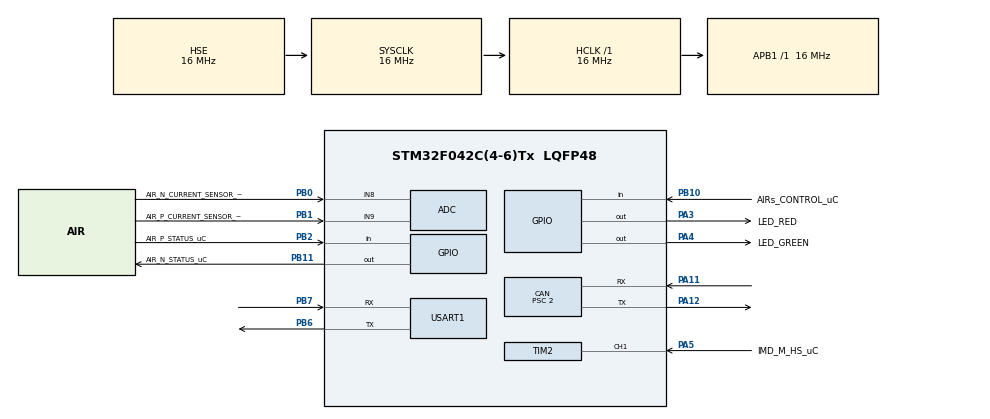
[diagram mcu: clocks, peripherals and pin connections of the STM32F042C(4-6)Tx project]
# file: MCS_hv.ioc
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ADC.SamplingTime=ADC_SAMPLETIME_7CYCLES_5
CAN.BS1=CAN_BS1_13TQ
CAN.BS2=CAN_BS2_2TQ
CAN.CalculateBaudRate=500000
CAN.CalculateTimeBit=2000
CAN.CalculateTimeQuantum=125.0
CAN.Prescaler=2
Mcu.Family=STM32F0
Mcu.Name=STM32F042C(4-6)Tx
Mcu.Package=LQFP48
NVIC.CEC_CAN_IRQn=true\:0\:0\:false\:false\:true\:true\:true\:true
PA11.Mode=CAN_Activate
PA11.Signal=CAN_RX
PA12.Mode=CAN_Activate
PA12.Signal=CAN_TX
PA13.Mode=Serial_Wire
PA13.Signal=SYS_SWDIO
PA14.Mode=Serial_Wire
PA14.Signal=SYS_SWCLK
PA3.GPIO_Label=LED_RED
PA3.Signal=GPIO_Output
PA4.GPIO_Label=LED_GREEN
PA4.Signal=GPIO_Output
PA5.GPIO_Label=IMD_M_HS_uC
PA5.Signal=S_TIM2_CH1_ETR
PB0.GPIO_Label=AIR_N_CURRENT_SENSOR_uC
PB0.Mode=IN8
PB0.Signal=ADC_IN8
PB1.GPIO_Label=AIR_P_CURRENT_SENSOR_uC
PB1.Mode=IN9
PB1.Signal=ADC_IN9
PB10.GPIO_Label=AIRs_CONTROL_uC
PB10.Signal=GPIO_Input
PB11.GPIO_Label=AIR_N_STATUS_uC
PB11.Signal=GPIO_Output
PB2.GPIO_Label=AIR_P_STATUS_uC
PB2.Signal=GPIO_Input
PB6.Mode=Asynchronous
PB6.Signal=USART1_TX
PB7.Mode=Asynchronous
PB7.Signal=USART1_RX
PC14OSC32_IN.Mode=LSE-External-Oscillator
PC14OSC32_IN.Signal=RCC_OSC32_IN
PC15OSC32_OUT.Mode=LSE-External-Oscillator
PC15OSC32_OUT.Signal=RCC_OSC32_OUT
PF0-OSC_IN.Mode=HSE-External-Oscillator
PF0-OSC_IN.Signal=RCC_OSC_IN
PF1-OSC_OUT.Mode=HSE-External-Oscillator
PF1-OSC_OUT.Signal=RCC_OSC_OUT
ProjectManager.HeapSize=0x200
ProjectManager.StackSize=0x400
ProjectManager.TargetToolchain=STM32CubeIDE
RCC.AHBFreq_Value=16000000
RCC.APB1Freq_Value=16000000
RCC.APB1TimFreq_Value=16000000
RCC.HCLKFreq_Value=16000000
RCC.HSE_VALUE=16000000
RCC.SYSCLKFreq_VALUE=16000000
RCC.SYSCLKSource=RCC_SYSCLKSOURCE_HSE
SH.S_TIM2_CH1_ETR.0=TIM2_CH1,PWM_Input_1
USART1.VirtualMode-Asynchronous=VM_ASYNC
board=custom

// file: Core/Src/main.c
/* USER CODE BEGIN Header */
/**
 ******************************************************************************
 * @file           : main.c
 * @brief          : Main program body
 ******************************************************************************
 * @attention
 *
 * Copyright (c) 2022 STMicroelectronics.
 * All rights reserved.
 *
 * This software is licensed under terms that can be found in the LICENSE file
 * in the root directory of this software component.
 * If no LICENSE file comes with this software, it is provided AS-IS.
 *
 ******************************************************************************
 */
/* USER CODE END Header */
#include "main.h"
#include "adc.h"
#include "can.h"
#include "tim.h"
#include "usart.h"
#include "gpio.h"

/* USER CODE BEGIN Includes */
#include <math.h>
#include <can_config.h>
#include <stdlib.h>
/* USER CODE END Includes */

/* USER CODE BEGIN PD */
//Kody do ramek
#define TxID 0x001A  //MCS_hv
#define RxID 0x001F  //MCS_hv

#define MCU_Tx 0x0190 //0x0190
#define MCU_Rx 0x0191 //0x0191

#define WRITE 0x2D
#define READ 0x3D
#define ERROR_D 0x001D

#define MAX_CURRENT_DIVERGENCE 0.5 	//ToDo random value, change later
#define MAX_CURRENT 5 				//ToDo random value, change later

#define MAIN_TIMEOUT 5000   		//ToDo random value, change later
/* USER CODE END PD */

/* USER CODE BEGIN PV */

/*IMD PWM */
extern ResponseMessageFrame ResponseMessage[NUMBER_OF_READ_REGS];
uint32_t IC_Value = 0;
volatile uint32_t Frequency = 0;
float Duty_Cycle = 0;
uint8_t Read_Ins_resistance[2];
/*IMD PWM */

uint16_t AIR_P_Current, AIR_N_Current;
uint8_t Read_AIR_AVG[2];

_Bool Write_MAIN_Handshake = false; //ToDo init value false or true????

_Bool Write_AIRs_Control;
_Bool AIR_N_STATUS, AIR_P_STATUS;

uint32_t Timer_MAIN;

/* USER CODE END PV */

void SystemClock_Config(void);
/* USER CODE BEGIN PFP */
void AIRs_Check(void);
void IMD_ShortCircuitTo24VError_Handler(void);
void IMD_InsulationMeasurementError_Handler(void);
void IMD_UnderVoltageError_Handler(void);
void IMD_SpeedStartError_Handler(void);
void IMD_DeviceError_Handler(void);
void IMD_ConFaultEarthError_Handler(void);
void IMD_MalfunctionError_Handler(void);
void AIRs_CurrentMeasurment(void);
void MAIN_StatusCheck(void);
void ADC_SetChannel(uint32_t Channel);

/* USER CODE END PFP */

int main(void)
{

  /* MCU Configuration--------------------------------------------------------*/

  /* Reset of all peripherals, Initializes the Flash interface and the Systick. */
  HAL_Init();

  /* Configure the system clock */
  SystemClock_Config();

  /* Initialize all configured peripherals */
  MX_GPIO_Init();
  MX_CAN_Init();
  MX_ADC_Init();
  MX_USART1_UART_Init();
  MX_TIM2_Init();
  /* USER CODE BEGIN 2 */
  CAN_Init();

	/*PWM input capture */
	HAL_TIM_IC_Start_IT(&htim2, TIM_CHANNEL_1); //main channel
	HAL_TIM_IC_Start(&htim2, TIM_CHANNEL_2); //indirect channel
	/*PWM input capture */

	Timer_MAIN = HAL_GetTick();
  /* USER CODE END 2 */

  /* Infinite loop */
  /* USER CODE BEGIN WHILE */
	while (1)
	{
		if (( HAL_GetTick() - Timer_MAIN ) > MAIN_TIMEOUT)
		{
			MAIN_StatusCheck();
		}
		AIRs_Check();
    /* USER CODE END WHILE */

	}
}

void SystemClock_Config(void)
{
  RCC_OscInitTypeDef RCC_OscInitStruct = {0};
  RCC_ClkInitTypeDef RCC_ClkInitStruct = {0};
  RCC_PeriphCLKInitTypeDef PeriphClkInit = {0};

  /** Initializes the RCC Oscillators according to the specified parameters
  * in the RCC_OscInitTypeDef structure.
  */
  RCC_OscInitStruct.OscillatorType = RCC_OSCILLATORTYPE_HSI14|RCC_OSCILLATORTYPE_HSE;
  RCC_OscInitStruct.HSEState = RCC_HSE_ON;
  RCC_OscInitStruct.HSI14State = RCC_HSI14_ON;
  RCC_OscInitStruct.HSI14CalibrationValue = 16;
  RCC_OscInitStruct.PLL.PLLState = RCC_PLL_NONE;
  if (HAL_RCC_OscConfig(&RCC_OscInitStruct) != HAL_OK)
  {
    Error_Handler();
  }

  /** Initializes the CPU, AHB and APB buses clocks
  */
  RCC_ClkInitStruct.ClockType = RCC_CLOCKTYPE_HCLK|RCC_CLOCKTYPE_SYSCLK
                              |RCC_CLOCKTYPE_PCLK1;
  RCC_ClkInitStruct.SYSCLKSource = RCC_SYSCLKSOURCE_HSE;
  RCC_ClkInitStruct.AHBCLKDivider = RCC_SYSCLK_DIV1;
  RCC_ClkInitStruct.APB1CLKDivider = RCC_HCLK_DIV1;

  if (HAL_RCC_ClockConfig(&RCC_ClkInitStruct, FLASH_LATENCY_0) != HAL_OK)
  {
    Error_Handler();
  }
  PeriphClkInit.PeriphClockSelection = RCC_PERIPHCLK_USART1;
  PeriphClkInit.Usart1ClockSelection = RCC_USART1CLKSOURCE_PCLK1;
  if (HAL_RCCEx_PeriphCLKConfig(&PeriphClkInit) != HAL_OK)
  {
    Error_Handler();
  }
}

/* USER CODE BEGIN 4 */

/** HAL_TIM_IC_CaptureCallback
 * @brief Callback in which frame insulation resistance value is measured by IMD.
 * Basing on signal frequency and duty cycle, condition is checked
 * and reported via CAN if necessary.
 *
 * @param htim pointer to structure that contains htim configuration.
 *
 * @retval None.
 **/
void HAL_TIM_IC_CaptureCallback(TIM_HandleTypeDef *htim) //tim1, measuring IMD signal
{
	uint16_t Temp;
	if (htim->Channel == HAL_TIM_ACTIVE_CHANNEL_1) // interrupt triggered by channel 1
	{
		//read IC value
		IC_Value = HAL_TIM_ReadCapturedValue(htim, TIM_CHANNEL_1);

		if (IC_Value != 0)
		{
			//calc duty cycle
			Duty_Cycle = ( HAL_TIM_ReadCapturedValue(htim, TIM_CHANNEL_2) * 100 ) / IC_Value; //duty cycle in %
			Frequency = 8000000 / IC_Value; //frequency of input signal, 8MHz - tim1 clock freq
			Temp = (uint16_t)( ( 90 * 1200 ) / ( Duty_Cycle - 5 ) - 1200 ); //in kOm
			Read_Ins_resistance[0] = Temp; //LSB
			Read_Ins_resistance[1] = ( Temp >> 8 ); //MSB
		}
		switch (Frequency)
		{
		case 0:
			if (HAL_GPIO_ReadPin(IMD_M_HS_uC_GPIO_Port, IMD_M_HS_uC_Pin) == GPIO_PIN_SET) IMD_ShortCircuitTo24VError_Handler();
			break;
		case 10:
			if (( (int8_t)Duty_Cycle >= 5 ) && ( (int8_t)Duty_Cycle <= 95 )) ; //all OK
			else IMD_InsulationMeasurementError_Handler();
			break;
		case 20:
			if (( (int8_t)Duty_Cycle >= 5 ) && ( (int8_t)Duty_Cycle <= 95 )) IMD_UnderVoltageError_Handler();
			else IMD_MalfunctionError_Handler();
			break;
		case 30:
			if (( (int8_t)Duty_Cycle >= 5 ) && ( (int8_t)Duty_Cycle <= 10 )) ; //all OK
			else if (( (int8_t)Duty_Cycle >= 90 ) && ( (int8_t)Duty_Cycle <= 95 )) IMD_SpeedStartError_Handler();
			else IMD_MalfunctionError_Handler();
			break;
		case 40:
			if (( (int8_t)Duty_Cycle >= 47.5 ) && ( (int8_t)Duty_Cycle <= 52.5 )) IMD_DeviceError_Handler();
			else IMD_MalfunctionError_Handler();
			break;
		case 50:
			if (( (int8_t)Duty_Cycle >= 47.5 ) && ( (int8_t)Duty_Cycle <= 52.5 )) IMD_ConFaultEarthError_Handler();
			else IMD_MalfunctionError_Handler();
			break;
		}
	}
}

/** IMD_ShortCircuitTo24VError_Handler
 * @brief Function to report  short circuit error via CAN
 *
 * @retval None.
 **/
void IMD_ShortCircuitTo24VError_Handler(void)
{
	CAN_ReportError(Error_IMD_Short_Circuit_24V_ID);
}

/** IMD_InsulationMeasurementError_Handler
 * @brief Function to report too low/too high frame insulation error via CAN
 *
 * @retval None.
 **/
void IMD_InsulationMeasurementError_Handler(void)
{
	CAN_ReportError(Error_IMD_Insulation_Measurement_ID);
}

/** IMD_UnderVoltageError_Handler
 * @brief Function to report error via CAN when Tractive System voltage drops below 300V
 *
 * @retval None.
 **/
void IMD_UnderVoltageError_Handler(void)
{
	CAN_ReportError(Error_IMD_Under_Voltage_ID);
}

/** IMD_SpeedStartError_Handler
 * @brief Function to report Speed start measurement failure error via CAN
 *
 * @retval None.
 **/
void IMD_SpeedStartError_Handler(void)
{
	CAN_ReportError(Error_IMD_Speed_Start_ID);
}

/** IMD_DeviceError_Handler
 * @brief Function to report Device error via CAN
 *
 * @retval None.
 **/
void IMD_DeviceError_Handler(void)
{
	CAN_ReportError(Error_IMD_Device_ID);
}

/** IMD_ConFaultEarthError_Handler
 * @brief Function to report fault on the earth connection error via CAN
 *
 * @retval None.
 **/
void IMD_ConFaultEarthError_Handler(void)
{
	CAN_ReportError(Error_IMD_Con_Fault_Earth_ID);
}

/** IMD_MalfunctionError_Handler
 * @brief Function to report IMD malfunction
 * based on incorrect Duty Cycle for respective frequency
 *
 * @retval None.
 **/
void IMD_MalfunctionError_Handler(void)
{
	CAN_ReportError(Error_IMD_Malfunction_ID);
}

/** AIRs_CurrentMeasurment
 * @brief Function which measures AIRs actual amperage
 * and calculate their average value
 *
 * @retval None.
 **/
void AIRs_CurrentMeasurment(void)
{
	/* AIRs current measurement and check BEGIN */
	ADC_SetChannel(ADC_CHANNEL_8); //Switch to channel 8
	HAL_ADC_Start(&hadc); //start conversion

	if (HAL_ADC_PollForConversion(&hadc, 1000) == HAL_OK)
	{
		AIR_N_Current = HAL_ADC_GetValue(&hadc); // Read AIR_P current value
	}

	ADC_SetChannel(ADC_CHANNEL_9); //Switch to channel 9
	HAL_ADC_Start(&hadc); //start conversion

	if (HAL_ADC_PollForConversion(&hadc, 1000) == HAL_OK)
	{
		AIR_P_Current = HAL_ADC_GetValue(&hadc); // Read AIR_N current value
	}

	//Current calc V(I) = 0.0034 *I + 2.5 -> I = (V(I) - 2.5) / 0.0034, equation from datasheet
	AIR_P_Current = (uint16_t)( ( (float)( AIR_P_Current - 2.5 ) ) / 0.0034 );
	AIR_N_Current = (uint16_t)( ( (float)( AIR_N_Current - 2.5 ) ) / 0.0034 );
	Read_AIR_AVG[0] = ( ( AIR_P_Current + AIR_N_Current ) / 2 ); 		  //LSB
	Read_AIR_AVG[1] = ( ( ( AIR_P_Current + AIR_N_Current ) / 2 ) >> 8 ); //MSB
}

/** AIRs_Check
 * @brief Function which monitor AIRs amperage
 * and reports error via CAN in case of:
 * -overcurrent
 * -current divergence
 * -not conducting current
 *
 * @retval None.
 **/
void AIRs_Check(void)
{
	AIRs_CurrentMeasurment();

	if (AIR_P_Current > MAX_CURRENT)
	{
		CAN_ReportError(Error_AIR_P_Overcurrent_ID);
	}
	if (AIR_N_Current > MAX_CURRENT)
	{
		CAN_ReportError(Error_AIR_N_Overcurrent_ID);
	}
	if (abs(AIR_P_Current - AIR_N_Current) > MAX_CURRENT_DIVERGENCE)
	{
		CAN_ReportError(Error_AIRs_Current_Divergence_ID);
	}

	Write_AIRs_Control = HAL_GPIO_ReadPin(AIRs_CONTROL_uC_GPIO_Port, AIRs_CONTROL_uC_Pin); //AIR_N turned on/off
	AIR_N_STATUS = HAL_GPIO_ReadPin(AIR_N_STATUS_uC_GPIO_Port,
	AIR_N_STATUS_uC_Pin); // AIR_N conducting current

	AIR_P_STATUS = HAL_GPIO_ReadPin(AIR_P_STATUS_uC_GPIO_Port,
	AIR_P_STATUS_uC_Pin); // AIR_P conducting current

	//AIR_N state check, if AIR_N is turned on but doesn't conduct current, send error
	if (( Write_AIRs_Control == GPIO_PIN_SET ) && ( AIR_N_STATUS == GPIO_PIN_RESET ))
	{
		CAN_ReportError(Error_AIR_P_ID);
	}
	//Both airs should conduct current at the same time
	if( AIR_N_STATUS != AIR_P_STATUS )
	{
		CAN_ReportError(Error_AIR_N_ID);
	}
}

/** MAIN_StatusCheck
 * @brief Function which checks MAIN status
 * and turns OFF Tractive System if MAIN is not ON
 *
 * @retval None.
 **/
void MAIN_StatusCheck(void)
{
	if (Write_MAIN_Handshake == false) //MAIN always should be ON
	{
		HAL_GPIO_WritePin(AIRs_CONTROL_uC_GPIO_Port, AIRs_CONTROL_uC_Pin, Write_MAIN_Handshake);
	}
	else //reset main status
	{
		Write_MAIN_Handshake = false;
	}
}

/** ADC_SetChannel
 * @brief Function which switches used ADC channel
 *
 * @param Channel Number of channel which we want to use
 *
 * @retval None.
 **/
void ADC_SetChannel(uint32_t Channel)
{
	ADC_ChannelConfTypeDef sConfig = { 0 };
	sConfig.Channel = Channel;
	sConfig.Rank = ADC_RANK_CHANNEL_NUMBER;
	sConfig.SamplingTime = ADC_SAMPLETIME_7CYCLES_5;
	if (HAL_ADC_ConfigChannel(&hadc, &sConfig) != HAL_OK)
	{
		Error_Handler();
	}
}
/* USER CODE END 4 */

void Error_Handler(void)
{
	__disable_irq();
	while (1)
	{
	}
}
